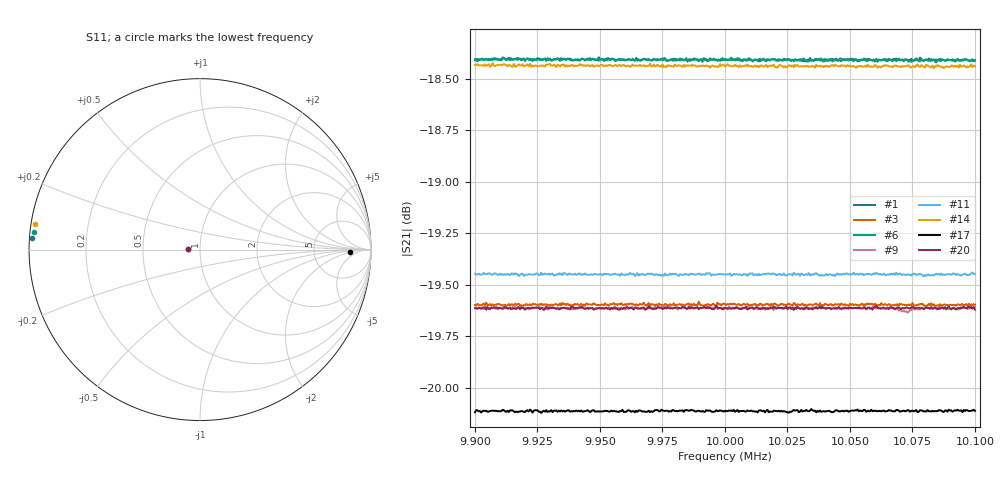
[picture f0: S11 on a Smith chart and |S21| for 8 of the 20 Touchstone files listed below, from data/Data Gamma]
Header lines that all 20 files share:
! NanoVNA-App
! Start: 9,9MHz Stop: 10,1MHz Points: 401
! S-Parameter data: F S11 S21 S12 S22
# Hz S RI R 50
!  Frequency  S11_Real  S11_Imag  S21_Real  S21_Imag  S12_Real  S12_Imag  S22_Real  S22_Imag
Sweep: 9.9 MHz to 10.1 MHz
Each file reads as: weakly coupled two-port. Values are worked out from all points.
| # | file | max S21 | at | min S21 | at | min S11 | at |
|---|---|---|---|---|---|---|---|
| 1 | l6_1.s2p | -18.40 dB | 9.9495 MHz | -18.4 dB | 9.985 MHz | -0.1 dB | 10.085 MHz |
| 2 | l9_1.s2p | -18.39 dB | 10.026 MHz | -18.4 dB | 10.1 MHz | -0.2 dB | 10.01 MHz |
| 3 | l9_2.s2p | -19.58 dB | 9.9895 MHz | -19.6 dB | 9.93 MHz | -23.2 dB | 10.069 MHz |
| 4 | l12_1.s2p | -18.39 dB | 10.032 MHz | -18.4 dB | 10.089 MHz | -0.2 dB | 10.065 MHz |
| 5 | l12_2.s2p | -19.61 dB | 10.083 MHz | -19.6 dB | 10.095 MHz | -23.2 dB | 9.9915 MHz |
| 6 | l15_1.s2p | -18.40 dB | 9.911 MHz | -18.4 dB | 10.085 MHz | -0.2 dB | 10.092 MHz |
| 7 | l15_2.s2p | -19.58 dB | 10.061 MHz | -19.6 dB | 9.9495 MHz | -23.2 dB | 9.9925 MHz |
| 8 | l18_1.s2p | -18.40 dB | 9.986 MHz | -18.4 dB | 9.9845 MHz | -0.2 dB | 10.085 MHz |
| 9 | l18_2.s2p | -19.60 dB | 10.082 MHz | -19.6 dB | 10.073 MHz | -23.2 dB | 10.073 MHz |
| 10 | l21_1.s2p | -18.56 dB | 9.953 MHz | -18.6 dB | 10.084 MHz | -1.6 dB | 9.909 MHz |
| 11 | l21_2.s2p | -19.44 dB | 10.099 MHz | -19.5 dB | 10.079 MHz | -23.2 dB | 9.939 MHz |
| 12 | l24_1.s2p | -18.43 dB | 9.952 MHz | -18.5 dB | 9.9395 MHz | -0.3 dB | 9.9295 MHz |
| 13 | l24_2.s2p | -19.61 dB | 10.05 MHz | -19.6 dB | 9.959 MHz | -23.2 dB | 9.975 MHz |
| 14 | l26_1.s2p | -18.42 dB | 9.907 MHz | -18.4 dB | 10.084 MHz | -0.2 dB | 10.094 MHz |
| 15 | l26_2.s2p | -19.58 dB | 9.9725 MHz | -19.6 dB | 9.912 MHz | -23.2 dB | 9.9245 MHz |
| 16 | mem_0.s2p | -76.34 dB | 9.9855 MHz | -108.0 dB | 9.914 MHz | 0.0 dB | 9.9385 MHz |
| 17 | o_1.s2p | -20.10 dB | 10.034 MHz | -20.1 dB | 9.9265 MHz | -1.1 dB | 9.9795 MHz |
| 18 | o_2.s2p | -19.01 dB | 10.084 MHz | -19.0 dB | 9.9995 MHz | -23.2 dB | 9.9075 MHz |
| 19 | s_1.s2p | -18.35 dB | 9.958 MHz | -18.4 dB | 10.065 MHz | -0.1 dB | 10.083 MHz |
| 20 | s_2.s2p | -19.60 dB | 9.9965 MHz | -19.6 dB | 9.9275 MHz | -23.2 dB | 9.9615 MHz |
